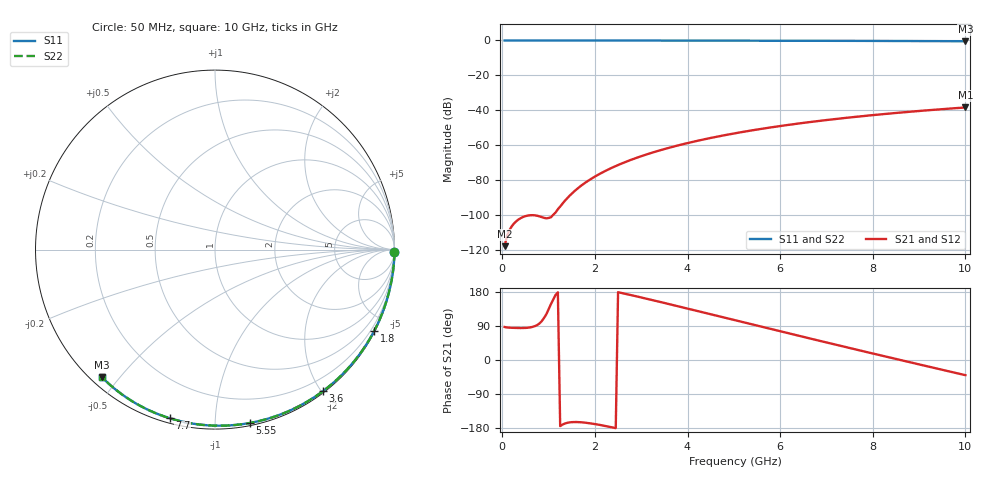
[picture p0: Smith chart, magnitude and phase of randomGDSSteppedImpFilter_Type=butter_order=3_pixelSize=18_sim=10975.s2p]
! freq	dB(S11)	phase(S11)	dB(S12)	phase(S12)
!  dB(S21)	phase(S21)	dB(S22)	phase(S22)
!S-par simulation data
#  GHz  S  DB  R 50
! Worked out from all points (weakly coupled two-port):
!   200 points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, 50 MHz to 10 GHz, reference 50 ohm
!   highest |S21| = -38.42 dB at 10 GHz (marker M1); lowest = -117.9 dB at 50 MHz (marker M2)
!   lowest |S11| = -0.4 dB at 10 GHz (marker M3), VSWR 39.05, Z = 1.54 - j22.5 ohm
!   |S11| at or under -10 dB: nowhere
!   |S22| runs from -0.4 to 0.0 dB; largest |S21 - S12| = 0
!   S11 on the Smith chart (normalised r, x): 50 MHz: open; 1.8 GHz: 0.04, -4.17; 3.6 GHz: 0.02, -2.02; 5.55 GHz: 0.02, -1.22; 7.7 GHz: 0.02, -0.77; 10 GHz: 0.03, -0.45
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0.05  -0.00 -0.8  -117.93 87.1  -117.93 87.1  -0.00 -0.8
0.9  -0.02 -13.6  -101.68 110.7  -101.68 110.7  -0.02 -13.6
1.75  -0.03 -26.2  -82.34 -164.9  -82.34 -164.9  -0.03 -26.2
1.8  -0.03 -26.9  -81.40 -165.5  -81.40 -165.5  -0.03 -26.9
1.85  -0.04 -27.7  -80.51 -166.3  -80.51 -166.3  -0.04 -27.7
1.9  -0.04 -28.4  -79.65 -167.1  -79.65 -167.1  -0.04 -28.4
2.05  -0.04 -30.6  -77.27 -170.1  -77.27 -170.1  -0.04 -30.6
2.25  -0.04 -33.5  -74.46 -174.7  -74.46 -174.7  -0.04 -33.5
2.45  -0.05 -36.4  -71.99 -179.8  -71.99 -179.8  -0.05 -36.4
2.65  -0.05 -39.3  -69.76 174.9  -69.76 174.9  -0.05 -39.3
3  -0.06 -44.3  -66.35 165.1  -66.35 165.1  -0.06 -44.3
3.4  -0.07 -49.9  -63.02 153.5  -63.02 153.5  -0.07 -49.9
3.6  -0.07 -52.7  -61.53 147.6  -61.53 147.6  -0.07 -52.7
4.3  -0.09 -62.3  -57.02 126.7  -57.02 126.7  -0.09 -62.3
5.05  -0.11 -72.2  -53.09 104.2  -53.09 104.2  -0.11 -72.2
5.55  -0.13 -78.7  -50.86 89.3  -50.86 89.3  -0.13 -78.7
6.1  -0.15 -85.7  -48.68 72.9  -48.68 72.9  -0.15 -85.7
6.7  -0.18 -93.1  -46.58 55.1  -46.58 55.1  -0.18 -93.1
7.7  -0.24 -105.1  -43.59 25.8  -43.59 25.8  -0.24 -105.1
8.35  -0.29 -112.7  -41.92 7.0  -41.92 7.0  -0.29 -112.7
9.15  -0.36 -121.9  -40.10 -15.9  -40.10 -15.9  -0.36 -121.9
10  -0.44 -131.5  -38.42 -40.0  -38.42 -40.0  -0.44 -131.5
